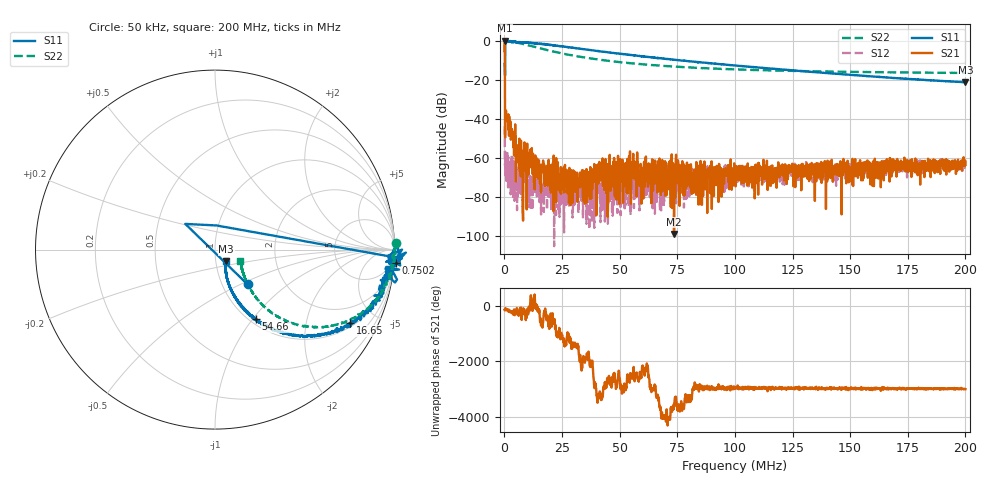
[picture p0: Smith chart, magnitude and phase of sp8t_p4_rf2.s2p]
! 26-Feb-26 11:51:15 AM
! E:\VNA_MEASUREMENTS\SP8T\SP8T_P4_RF2.S2P
! CHANNEL.1
! TR.MEASUREMENT
! CORRECTED.DATA
# GHZ S RI R 50.0
! FREQ.GHZ  S11RE  S11IM  S21RE  S21IM  S12RE  S12IM  S22RE  S22IM
!; PortSelection: Port_12
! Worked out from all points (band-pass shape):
!   2000 points, 50 kHz to 200 MHz, reference 50 ohm
!   highest |S21| = 0.42 dB at 150 kHz (marker M1); lowest = -98.8 dB at 73.57 MHz (marker M2)
!   |S21| within 3 dB of the highest: 93.44 kHz to 156 kHz (62.61 kHz wide, 50.2 % of centre)
!   lowest |S11| = -20.9 dB at 200 MHz (marker M3), VSWR 1.20, Z = 56.1 - j7.39 ohm
!   |S11| at or under -10 dB: start of sweep to 291.8 kHz; 79.03 MHz to end of sweep
!   |S22| runs from -16.2 to 0.1 dB; largest |S21 - S12| = 1.1
!   S11 on the Smith chart (normalised r, x): 50 kHz: 1.31, -0.55; 750.2 kHz: -4, -26; 16.65 MHz: 1.17, -3.59; 54.66 MHz: 1.07, -1.04; 200 MHz: 1.12, -0.15
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5e-05  0.1818 -0.1941  -0.4886 -0.2934  -0.00408 0.00546  1.011 0.0343
0.000150025  -0.1655 0.1432  -1.045 -0.0992  0.00103 -0.000334  0.9976 -0.00456
0.000750175  1.009 -0.0765  -0.00987 -0.0091  4.76e-05 0.000259  0.9925 -0.0472
0.0012503  1.016 0.0303  -0.00519 -0.00775  0.0011 0.000981  0.9996 -0.0847
0.005751426  0.9305 -0.1677  0.000698 0.000806  0.000302 -0.000279  0.8708 -0.3121
0.01665415  0.7539 -0.4078  0.000315 0.000629  0.000191 -9.01e-05  0.4806 -0.4237
0.02865715  0.5142 -0.4788  -7.92e-05 0.000119  2.5e-06 -7.08e-05  0.2959 -0.3354
0.03345835  0.4368 -0.4741  -0.000239 -1.59e-05  0.000184 -6.47e-05  0.2602 -0.3034
0.04216053  0.3255 -0.4431  -0.000218 -0.000172  0.000147 -9.71e-05  0.2184 -0.2545
0.04396098  0.3078 -0.4361  0.000746 -4.48e-05  9.28e-05 -0.00012  0.2124 -0.2456
0.05026256  0.2592 -0.409  0.000951 -3.8e-06  -4.51e-05 0.000216  0.1965 -0.2192
0.05466366  0.2265 -0.3879  0.000203 8.32e-05  3.33e-05 2.32e-05  0.1878 -0.2046
0.06676668  0.1655 -0.3397  -0.000144 3e-07  0.000111 -0.000303  0.1724 -0.1699
0.07116778  0.1507 -0.3184  7.2e-06 -0.000264  -0.00017 -0.000319  0.1681 -0.1605
0.07356838  0.1427 -0.3073  4.4e-06 1.06e-05  0.000109 -0.000191  0.1654 -0.1563
0.07516878  0.1395 -0.3028  -7.21e-05 -0.000388  0.000151 -0.000218  0.1647 -0.1525
0.08217054  0.1205 -0.278  -8.03e-05 -0.000378  0.000114 -0.000257  0.1604 -0.1401
0.08597149  0.1114 -0.2666  -0.000464 -0.000182  0.00025 -0.000309  0.1587 -0.1341
0.100075  0.0896 -0.2257  8.92e-05 -0.000392  -2.62e-05 -0.00032  0.1532 -0.1174
0.1333833  0.0651 -0.1517  -6.11e-05 -0.000534  -6.21e-05 -0.000436  0.147 -0.0902
0.1666917  0.0593 -0.1021  -2.98e-05 -0.000642  -0.000208 -0.000463  0.1443 -0.0743
0.2  0.062 -0.0653  -0.000393 -0.000569  -0.000311 -0.000641  0.1421 -0.0623
